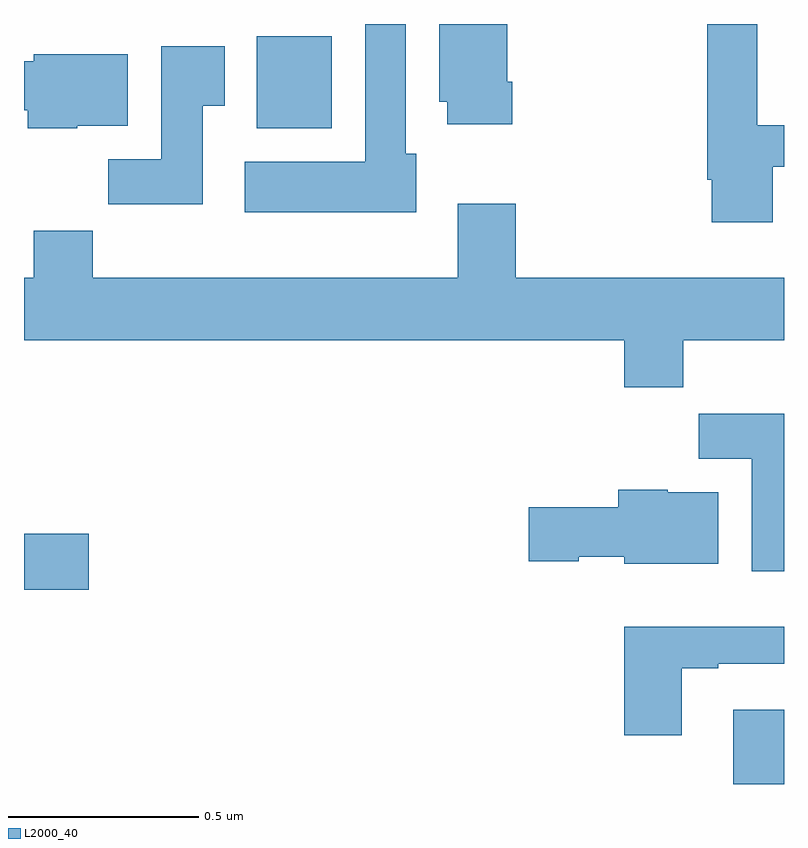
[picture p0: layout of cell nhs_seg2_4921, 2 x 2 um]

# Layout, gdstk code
import gdstk
lib = gdstk.Library(unit=1e-6, precision=1e-09)
def R(c, l, rs):  # rectangles x0, y0, x1, y1
    for r in rs: c.add(gdstk.rectangle(r[:2], r[2:], *l))
def P(c, l, *ps):  # polygons
    for p in ps: c.add(gdstk.Polygon(p, *l))
L2000_40 = (2000, 40)

nhs_seg2_4921 = lib.new_cell('nhs_seg2_4921')
R(nhs_seg2_4921, L2000_40, [(173.867,647.8,174,647.995), (172,648.311,172.171,648.458), (172.613,649.526,172.81,649.768)])
P(nhs_seg2_4921, L2000_40, [(173.032,649.458),(173.005,649.458),(173.005,649.8),(172.898,649.8),(172.898,649.438),(172.581,649.438),(172.581,649.304),(173.032,649.304)],
  [(173.971,649.425),(174,649.425),(174,649.533),(173.929,649.533),(173.929,649.8),(173.798,649.8),(173.798,649.39),(173.81,649.39),(173.81,649.278),(173.971,649.278)],
  [(173.285,649.648),(173.272,649.648),(173.272,649.8),(173.093,649.8),(173.093,649.596),(173.114,649.596),(173.114,649.536),(173.285,649.536)],
  [(172.471,649.585),(172.528,649.585),(172.528,649.741),(172.361,649.741),(172.361,649.444),(172.222,649.444),(172.222,649.326),(172.471,649.326)],
  [(172.14,649.532),(172.273,649.532),(172.273,649.72),(172.026,649.72),(172.026,649.702),(172,649.702),(172,649.573),(172.01,649.573),(172.01,649.526),(172.14,649.526)],
  [(173.294,649.327),(173.141,649.327),(173.141,649.132),(172.181,649.132),(172.181,649.256),(172.025,649.256),(172.025,649.132),(172,649.132),(172,648.968),(173.579,648.968),(173.579,648.844),(173.735,648.844),(173.735,648.968),(174,648.968),(174,649.132),(173.294,649.132)],
  [(174,648.775),(173.776,648.775),(173.776,648.656),(173.915,648.656),(173.915,648.36),(174,648.36)],
  [(173.827,648.568),(173.694,648.568),(173.694,648.574),(173.564,648.574),(173.564,648.528),(173.328,648.528),(173.328,648.386),(173.46,648.386),(173.46,648.398),(173.58,648.398),(173.58,648.38),(173.827,648.38)],
  [(173.731,648.105),(173.827,648.105),(173.827,648.117),(174,648.117),(174,648.214),(173.579,648.214),(173.579,647.928),(173.731,647.928)])

lib.write_gds('nhs_seg2_4921.gds')
